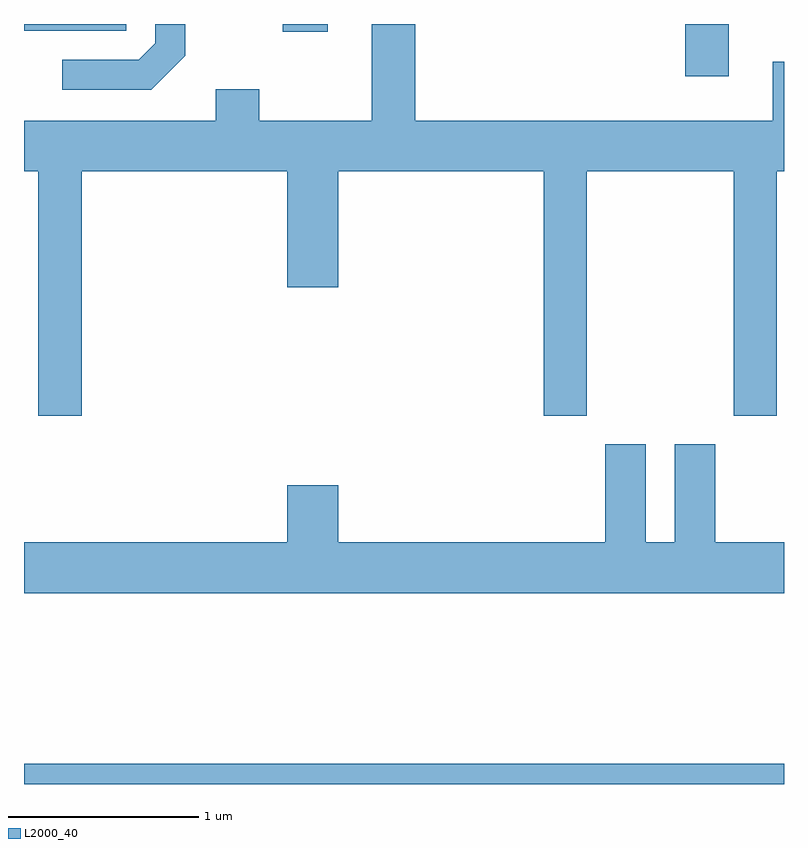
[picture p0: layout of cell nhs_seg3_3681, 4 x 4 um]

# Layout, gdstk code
import gdstk
lib = gdstk.Library(unit=1e-6, precision=1e-09)
def R(c, l, rs):  # rectangles x0, y0, x1, y1
    for r in rs: c.add(gdstk.rectangle(r[:2], r[2:], *l))
def P(c, l, *ps):  # polygons
    for p in ps: c.add(gdstk.Polygon(p, *l))
L2000_40 = (2000, 40)

nhs_seg3_3681 = lib.new_cell('nhs_seg3_3681')
R(nhs_seg3_3681, L2000_40, [(293.611,1133.892,297.611,1133.999), (297.091,1137.616,297.319,1137.892), (294.973,1137.851,295.209,1137.892), (293.611,1137.856,294.149,1137.892)])
P(nhs_seg3_3681, L2000_40, [(293.914,1137.116),(294.996,1137.116),(294.996,1136.506),(295.264,1136.506),(295.264,1137.116),(296.346,1137.116),(296.346,1135.831),(296.574,1135.831),(296.574,1137.116),(297.346,1137.116),(297.346,1135.831),(297.574,1135.831),(297.574,1137.116),(297.611,1137.116),(297.611,1137.694),(297.551,1137.694),(297.551,1137.384),(295.669,1137.384),(295.669,1137.892),(295.441,1137.892),(295.441,1137.384),(294.849,1137.384),(294.849,1137.549),(294.621,1137.549),(294.621,1137.384),(293.611,1137.384),(293.611,1137.116),(293.686,1137.116),(293.686,1135.831),(293.914,1135.831)],
  [(294.459,1137.724),(294.459,1137.892),(294.301,1137.892),(294.301,1137.792),(294.214,1137.704),(293.813,1137.704),(293.813,1137.546),(294.282,1137.546)],
  [(297.611,1135.164),(297.249,1135.164),(297.249,1135.679),(297.036,1135.679),(297.036,1135.164),(296.884,1135.164),(296.884,1135.679),(296.671,1135.679),(296.671,1135.164),(295.264,1135.164),(295.264,1135.464),(294.996,1135.464),(294.996,1135.164),(293.611,1135.164),(293.611,1134.896),(297.611,1134.896)])

lib.write_gds('nhs_seg3_3681.gds')
